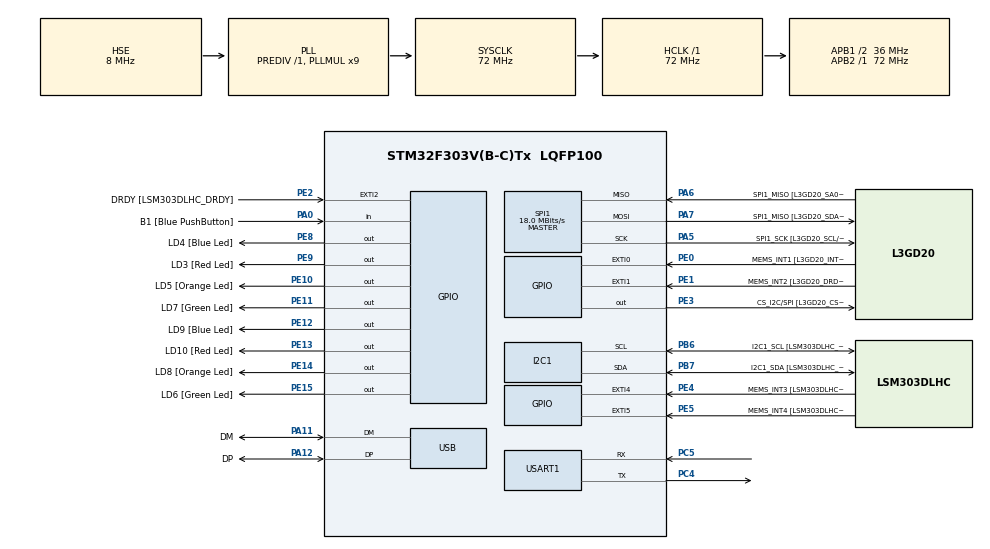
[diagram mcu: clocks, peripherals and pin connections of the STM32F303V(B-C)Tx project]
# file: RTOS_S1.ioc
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FREERTOS.INCLUDE_vTaskDelayUntil=1
FREERTOS.Tasks01=defaultTask,0,128,StartDefaultTask,Default,NULL,Dynamic,NULL,NULL
FREERTOS.configUSE_NEWLIB_REENTRANT=1
I2C1.Timing-I2C=0x2000090E
Mcu.Family=STM32F3
Mcu.Name=STM32F303V(B-C)Tx
Mcu.Package=LQFP100
NVIC.PriorityGroup=NVIC_PRIORITYGROUP_4
NVIC.TIM1_UP_TIM16_IRQn=true\:15\:0\:false\:false\:true\:false\:false\:true\:true
NVIC.TimeBase=TIM1_UP_TIM16_IRQn
NVIC.TimeBaseIP=TIM1
PA0.GPIO_Label=B1 [Blue PushButton]
PA0.Signal=GPIO_Input
PA11.GPIO_Label=DM
PA11.Mode=Device
PA11.Signal=USB_DM
PA12.GPIO_Label=DP
PA12.Mode=Device
PA12.Signal=USB_DP
PA13.GPIO_Label=SWDIO
PA13.Mode=Serial_Wire
PA13.Signal=SYS_JTMS-SWDIO
PA14.GPIO_Label=SWCLK
PA14.Mode=Serial_Wire
PA14.Signal=SYS_JTCK-SWCLK
PA5.GPIO_Label=SPI1_SCK [L3GD20_SCL/SPC]
PA5.Mode=Full_Duplex_Master
PA5.Signal=SPI1_SCK
PA6.GPIO_Label=SPI1_MISO [L3GD20_SA0/SDO]
PA6.Mode=Full_Duplex_Master
PA6.Signal=SPI1_MISO
PA7.GPIO_Label=SPI1_MISO [L3GD20_SDA/SDI/SDO]
PA7.Mode=Full_Duplex_Master
PA7.Signal=SPI1_MOSI
PB3.GPIO_Label=SWO
PB3.Signal=SYS_JTDO-TRACESWO
PB6.GPIO_Label=I2C1_SCL [LSM303DLHC_SCL]
PB6.GPIO_Pu=GPIO_PULLUP
PB6.Mode=I2C
PB6.Signal=I2C1_SCL
PB7.GPIO_Label=I2C1_SDA [LSM303DLHC_SDA]
PB7.GPIO_Pu=GPIO_PULLUP
PB7.Mode=I2C
PB7.Signal=I2C1_SDA
PC14-OSC32_IN.GPIO_Label=OSC32_IN
PC14-OSC32_IN.Signal=RCC_OSC32_IN
PC15-OSC32_OUT.GPIO_Label=OSC32_OUT
PC15-OSC32_OUT.Signal=RCC_OSC32_OUT
PC4.Mode=Asynchronous
PC4.Signal=USART1_TX
PC5.Mode=Asynchronous
PC5.Signal=USART1_RX
PE0.GPIO_Label=MEMS_INT1 [L3GD20_INT1]
PE0.GPIO_ModeDefaultEXTI=GPIO_MODE_EVT_RISING
PE0.Signal=GPXTI0
PE1.GPIO_Label=MEMS_INT2 [L3GD20_DRDY/INT2]
PE1.GPIO_ModeDefaultEXTI=GPIO_MODE_EVT_RISING
PE1.Signal=GPXTI1
PE10.GPIO_Label=LD5 [Orange Led]
PE10.Signal=GPIO_Output
PE11.GPIO_Label=LD7 [Green Led]
PE11.Signal=GPIO_Output
PE12.GPIO_Label=LD9 [Blue Led]
PE12.Signal=GPIO_Output
PE13.GPIO_Label=LD10 [Red Led]
PE13.Signal=GPIO_Output
PE14.GPIO_Label=LD8 [Orange Led]
PE14.Signal=GPIO_Output
PE15.GPIO_Label=LD6 [Green Led]
PE15.Signal=GPIO_Output
PE2.GPIO_Label=DRDY [LSM303DLHC_DRDY]
PE2.GPIO_ModeDefaultEXTI=GPIO_MODE_EVT_RISING
PE2.Signal=GPXTI2
PE3.GPIO_Label=CS_I2C/SPI [L3GD20_CS_I2C/SPI]
PE3.Signal=GPIO_Output
PE4.GPIO_Label=MEMS_INT3 [LSM303DLHC_INT1]
PE4.GPIO_ModeDefaultEXTI=GPIO_MODE_EVT_RISING
PE4.Signal=GPXTI4
PE5.GPIO_Label=MEMS_INT4 [LSM303DLHC_INT2]
PE5.GPIO_ModeDefaultEXTI=GPIO_MODE_EVT_RISING
PE5.Signal=GPXTI5
PE8.GPIO_Label=LD4 [Blue Led]
PE8.Signal=GPIO_Output
PE9.GPIO_Label=LD3 [Red Led]
PE9.Signal=GPIO_Output
PF0-OSC_IN.GPIO_Label=OSC_IN
PF0-OSC_IN.Mode=HSE-External-Clock-Source
PF0-OSC_IN.Signal=RCC_OSC_IN
PF1-OSC_OUT.GPIO_Label=OSC_OUT
PF1-OSC_OUT.Signal=RCC_OSC_OUT
ProjectManager.HeapSize=0x200
ProjectManager.StackSize=0x400
ProjectManager.TargetToolchain=STM32CubeIDE
RCC.AHBFreq_Value=72000000
RCC.APB1CLKDivider=RCC_HCLK_DIV2
RCC.APB1Freq_Value=36000000
RCC.APB1TimFreq_Value=72000000
RCC.APB2Freq_Value=72000000
RCC.APB2TimFreq_Value=72000000
RCC.CortexFreq_Value=72000000
RCC.HCLKFreq_Value=72000000
RCC.HSE_VALUE=8000000
RCC.HSI_VALUE=8000000
RCC.LSE_VALUE=32768
RCC.PLLMUL=RCC_PLL_MUL9
RCC.PRESCALERUSB=RCC_USBCLKSOURCE_PLL_DIV1_5
RCC.SYSCLKFreq_VALUE=72000000
RCC.SYSCLKSourceVirtual=RCC_SYSCLKSOURCE_PLLCLK
RCC.USBFreq_Value=48000000
SPI1.BaudRatePrescaler=SPI_BAUDRATEPRESCALER_4
SPI1.BaudRatePrescaler-Full_Duplex_Master=SPI_BAUDRATEPRESCALER_2
SPI1.CalculateBaudRate=18.0 MBits/s
SPI1.CalculateBaudRate-Full_Duplex_Master=24.0 MBits/s
SPI1.Direction=SPI_DIRECTION_2LINES
SPI1.Mode=SPI_MODE_MASTER
SPI1.Mode-Full_Duplex_Master=SPI_MODE_MASTER
SPI1.VirtualType=VM_MASTER
USART1.VirtualMode-Asynchronous=VM_ASYNC
VP_FREERTOS_VS_CMSIS_V1.Mode=CMSIS_V1
VP_SYS_VS_tim1.Mode=TIM1
board=STM32F3DISCOVERY

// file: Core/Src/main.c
/* USER CODE BEGIN Header */
/**
  ******************************************************************************
  * @file           : main.c
  * @brief          : Main program body
  ******************************************************************************
  * @attention
  *
  * Copyright (c) 2024 STMicroelectronics.
  * All rights reserved.
  *
  * This software is licensed under terms that can be found in the LICENSE file
  * in the root directory of this software component.
  * If no LICENSE file comes with this software, it is provided AS-IS.
  *
  ******************************************************************************
  */
/* USER CODE END Header */
#include "main.h"
#include "cmsis_os.h"

/* USER CODE BEGIN Includes */
//#include "stdio.h"
#include "string.h"
/* USER CODE END Includes */

I2C_HandleTypeDef hi2c1;

SPI_HandleTypeDef hspi1;

UART_HandleTypeDef huart1;

PCD_HandleTypeDef hpcd_USB_FS;

osThreadId defaultTaskHandle;

void SystemClock_Config(void);
static void MX_GPIO_Init(void);
static void MX_I2C1_Init(void);
static void MX_SPI1_Init(void);
static void MX_USB_PCD_Init(void);
static void MX_USART1_UART_Init(void);
void StartDefaultTask(void const * argument);

/* USER CODE BEGIN 0 */

/*
// function for printf with SWV

int _write(int file, char *ptr, int len) {
	int i = 0;
	for (int i = 0; i < len; i++) {
		ITM_SendChar((*ptr++));
	}
	return len;
}

*/

osThreadId myTask02Handle;
void StartTask02(void const * argument);
int countTaskDefault = 0;
int countTask02 = 0;

/* USER CODE END 0 */

int main(void)
{

  /* MCU Configuration--------------------------------------------------------*/

  /* Reset of all peripherals, Initializes the Flash interface and the Systick. */
  HAL_Init();

  /* Configure the system clock */
  SystemClock_Config();

  /* Initialize all configured peripherals */
  MX_GPIO_Init();
  MX_I2C1_Init();
  MX_SPI1_Init();
  MX_USB_PCD_Init();
  MX_USART1_UART_Init();

  /* Create the thread(s) */
  /* definition and creation of defaultTask */
  osThreadDef(defaultTask, StartDefaultTask, osPriorityNormal, 0, 128);
  defaultTaskHandle = osThreadCreate(osThread(defaultTask), NULL);

  /* USER CODE BEGIN RTOS_THREADS */
  /* add threads, ... */
  osThreadDef(myTask02, StartTask02, osPriorityAboveNormal, 0, 128);
  myTask02Handle = osThreadCreate(osThread(myTask02), NULL);
  /* USER CODE END RTOS_THREADS */

  /* Start scheduler */
  osKernelStart();

  /* We should never get here as control is now taken by the scheduler */
  /* Infinite loop */
  while (1)
  {

  }
}

void SystemClock_Config(void)
{
  RCC_OscInitTypeDef RCC_OscInitStruct = {0};
  RCC_ClkInitTypeDef RCC_ClkInitStruct = {0};
  RCC_PeriphCLKInitTypeDef PeriphClkInit = {0};

  /** Initializes the RCC Oscillators according to the specified parameters
  * in the RCC_OscInitTypeDef structure.
  */
  RCC_OscInitStruct.OscillatorType = RCC_OSCILLATORTYPE_HSI|RCC_OSCILLATORTYPE_HSE;
  RCC_OscInitStruct.HSEState = RCC_HSE_BYPASS;
  RCC_OscInitStruct.HSEPredivValue = RCC_HSE_PREDIV_DIV1;
  RCC_OscInitStruct.HSIState = RCC_HSI_ON;
  RCC_OscInitStruct.HSICalibrationValue = RCC_HSICALIBRATION_DEFAULT;
  RCC_OscInitStruct.PLL.PLLState = RCC_PLL_ON;
  RCC_OscInitStruct.PLL.PLLSource = RCC_PLLSOURCE_HSE;
  RCC_OscInitStruct.PLL.PLLMUL = RCC_PLL_MUL9;
  if (HAL_RCC_OscConfig(&RCC_OscInitStruct) != HAL_OK)
  {
    Error_Handler();
  }

  /** Initializes the CPU, AHB and APB buses clocks
  */
  RCC_ClkInitStruct.ClockType = RCC_CLOCKTYPE_HCLK|RCC_CLOCKTYPE_SYSCLK
                              |RCC_CLOCKTYPE_PCLK1|RCC_CLOCKTYPE_PCLK2;
  RCC_ClkInitStruct.SYSCLKSource = RCC_SYSCLKSOURCE_PLLCLK;
  RCC_ClkInitStruct.AHBCLKDivider = RCC_SYSCLK_DIV1;
  RCC_ClkInitStruct.APB1CLKDivider = RCC_HCLK_DIV2;
  RCC_ClkInitStruct.APB2CLKDivider = RCC_HCLK_DIV1;

  if (HAL_RCC_ClockConfig(&RCC_ClkInitStruct, FLASH_LATENCY_2) != HAL_OK)
  {
    Error_Handler();
  }
  PeriphClkInit.PeriphClockSelection = RCC_PERIPHCLK_USB|RCC_PERIPHCLK_USART1
                              |RCC_PERIPHCLK_I2C1;
  PeriphClkInit.Usart1ClockSelection = RCC_USART1CLKSOURCE_PCLK2;
  PeriphClkInit.I2c1ClockSelection = RCC_I2C1CLKSOURCE_HSI;
  PeriphClkInit.USBClockSelection = RCC_USBCLKSOURCE_PLL_DIV1_5;
  if (HAL_RCCEx_PeriphCLKConfig(&PeriphClkInit) != HAL_OK)
  {
    Error_Handler();
  }
}

static void MX_I2C1_Init(void)
{

  hi2c1.Instance = I2C1;
  hi2c1.Init.Timing = 0x2000090E;
  hi2c1.Init.OwnAddress1 = 0;
  hi2c1.Init.AddressingMode = I2C_ADDRESSINGMODE_7BIT;
  hi2c1.Init.DualAddressMode = I2C_DUALADDRESS_DISABLE;
  hi2c1.Init.OwnAddress2 = 0;
  hi2c1.Init.OwnAddress2Masks = I2C_OA2_NOMASK;
  hi2c1.Init.GeneralCallMode = I2C_GENERALCALL_DISABLE;
  hi2c1.Init.NoStretchMode = I2C_NOSTRETCH_DISABLE;
  if (HAL_I2C_Init(&hi2c1) != HAL_OK)
  {
    Error_Handler();
  }

  /** Configure Analogue filter
  */
  if (HAL_I2CEx_ConfigAnalogFilter(&hi2c1, I2C_ANALOGFILTER_ENABLE) != HAL_OK)
  {
    Error_Handler();
  }

  /** Configure Digital filter
  */
  if (HAL_I2CEx_ConfigDigitalFilter(&hi2c1, 0) != HAL_OK)
  {
    Error_Handler();
  }

}

static void MX_SPI1_Init(void)
{

  /* SPI1 parameter configuration*/
  hspi1.Instance = SPI1;
  hspi1.Init.Mode = SPI_MODE_MASTER;
  hspi1.Init.Direction = SPI_DIRECTION_2LINES;
  hspi1.Init.DataSize = SPI_DATASIZE_4BIT;
  hspi1.Init.CLKPolarity = SPI_POLARITY_LOW;
  hspi1.Init.CLKPhase = SPI_PHASE_1EDGE;
  hspi1.Init.NSS = SPI_NSS_SOFT;
  hspi1.Init.BaudRatePrescaler = SPI_BAUDRATEPRESCALER_4;
  hspi1.Init.FirstBit = SPI_FIRSTBIT_MSB;
  hspi1.Init.TIMode = SPI_TIMODE_DISABLE;
  hspi1.Init.CRCCalculation = SPI_CRCCALCULATION_DISABLE;
  hspi1.Init.CRCPolynomial = 7;
  hspi1.Init.CRCLength = SPI_CRC_LENGTH_DATASIZE;
  hspi1.Init.NSSPMode = SPI_NSS_PULSE_ENABLE;
  if (HAL_SPI_Init(&hspi1) != HAL_OK)
  {
    Error_Handler();
  }

}

static void MX_USART1_UART_Init(void)
{

  huart1.Instance = USART1;
  huart1.Init.BaudRate = 38400;
  huart1.Init.WordLength = UART_WORDLENGTH_8B;
  huart1.Init.StopBits = UART_STOPBITS_1;
  huart1.Init.Parity = UART_PARITY_NONE;
  huart1.Init.Mode = UART_MODE_TX_RX;
  huart1.Init.HwFlowCtl = UART_HWCONTROL_NONE;
  huart1.Init.OverSampling = UART_OVERSAMPLING_16;
  huart1.Init.OneBitSampling = UART_ONE_BIT_SAMPLE_DISABLE;
  huart1.AdvancedInit.AdvFeatureInit = UART_ADVFEATURE_NO_INIT;
  if (HAL_UART_Init(&huart1) != HAL_OK)
  {
    Error_Handler();
  }

}

static void MX_USB_PCD_Init(void)
{

  hpcd_USB_FS.Instance = USB;
  hpcd_USB_FS.Init.dev_endpoints = 8;
  hpcd_USB_FS.Init.speed = PCD_SPEED_FULL;
  hpcd_USB_FS.Init.phy_itface = PCD_PHY_EMBEDDED;
  hpcd_USB_FS.Init.low_power_enable = DISABLE;
  hpcd_USB_FS.Init.battery_charging_enable = DISABLE;
  if (HAL_PCD_Init(&hpcd_USB_FS) != HAL_OK)
  {
    Error_Handler();
  }

}

static void MX_GPIO_Init(void)
{
  GPIO_InitTypeDef GPIO_InitStruct = {0};

  /* GPIO Ports Clock Enable */
  __HAL_RCC_GPIOE_CLK_ENABLE();
  __HAL_RCC_GPIOC_CLK_ENABLE();
  __HAL_RCC_GPIOF_CLK_ENABLE();
  __HAL_RCC_GPIOA_CLK_ENABLE();
  __HAL_RCC_GPIOB_CLK_ENABLE();

  /*Configure GPIO pin Output Level */
  HAL_GPIO_WritePin(GPIOE, CS_I2C_SPI_Pin|LD4_Pin|LD3_Pin|LD5_Pin
                          |LD7_Pin|LD9_Pin|LD10_Pin|LD8_Pin
                          |LD6_Pin, GPIO_PIN_RESET);

  /*Configure GPIO pins : DRDY_Pin MEMS_INT3_Pin MEMS_INT4_Pin MEMS_INT1_Pin
                           MEMS_INT2_Pin */
  GPIO_InitStruct.Pin = DRDY_Pin|MEMS_INT3_Pin|MEMS_INT4_Pin|MEMS_INT1_Pin
                          |MEMS_INT2_Pin;
  GPIO_InitStruct.Mode = GPIO_MODE_EVT_RISING;
  GPIO_InitStruct.Pull = GPIO_NOPULL;
  HAL_GPIO_Init(GPIOE, &GPIO_InitStruct);

  /*Configure GPIO pins : CS_I2C_SPI_Pin LD4_Pin LD3_Pin LD5_Pin
                           LD7_Pin LD9_Pin LD10_Pin LD8_Pin
                           LD6_Pin */
  GPIO_InitStruct.Pin = CS_I2C_SPI_Pin|LD4_Pin|LD3_Pin|LD5_Pin
                          |LD7_Pin|LD9_Pin|LD10_Pin|LD8_Pin
                          |LD6_Pin;
  GPIO_InitStruct.Mode = GPIO_MODE_OUTPUT_PP;
  GPIO_InitStruct.Pull = GPIO_NOPULL;
  GPIO_InitStruct.Speed = GPIO_SPEED_FREQ_LOW;
  HAL_GPIO_Init(GPIOE, &GPIO_InitStruct);

  /*Configure GPIO pin : B1_Pin */
  GPIO_InitStruct.Pin = B1_Pin;
  GPIO_InitStruct.Mode = GPIO_MODE_INPUT;
  GPIO_InitStruct.Pull = GPIO_NOPULL;
  HAL_GPIO_Init(B1_GPIO_Port, &GPIO_InitStruct);

}

/* USER CODE BEGIN 4 */
void taskdefault_send() {
	uint8_t data[50];
	countTaskDefault++;
    sprintf(data, "Task Default   => %d \r\n", countTaskDefault);
	HAL_UART_Transmit(&huart1, data, strlen(data), 500);
}

void task02_send() {
	uint8_t data[50];
	countTask02++;
    sprintf(data, "Task 02        => %d \r\n", countTask02);
    HAL_UART_Transmit(&huart1, data, strlen(data), 500);
}

void StartTask02(void const * argument)
{
  for(;;)
  {
	  task02_send();
	  if(countTask02 == 4) {
		  osThreadSuspend(defaultTaskHandle);
	  }
	  else if(countTask02 == 10) {
		  osThreadResume(defaultTaskHandle);
	  }
	  else if(countTask02 == 12) {
		  osThreadSuspend(myTask02Handle);
	  }
	  osDelay(2000);
  }
}
/* USER CODE END 4 */

void StartDefaultTask(void const * argument)
{
  /* USER CODE BEGIN 5 */
  /* Infinite loop */
  for(;;)
  {
	  taskdefault_send();
	  if(countTaskDefault == 27) {
		  uint32_t previousWakeTime = osKernelSysTick();
		  osDelayUntil(&previousWakeTime, 10000); // block this task for 10 seconds
	  }
	  else if(countTaskDefault == 30) {
		  osThreadResume(myTask02Handle);
	  }
	  else if(countTaskDefault == 40) {
		  osThreadTerminate(myTask02Handle);
	  }
	  else if(countTaskDefault == 45) {
		  osThreadResume(myTask02Handle);
	  }
	  osDelay(1000);
  }
  /* USER CODE END 5 */
}

void HAL_TIM_PeriodElapsedCallback(TIM_HandleTypeDef *htim)
{
  if (htim->Instance == TIM1) {
    HAL_IncTick();
  }
}

void Error_Handler(void)
{
  __disable_irq();
  while (1)
  {
  }
}
